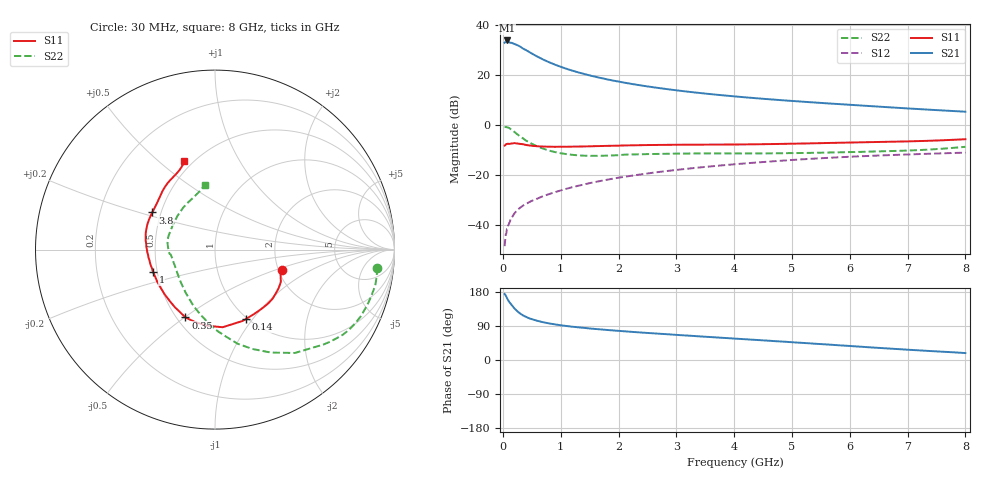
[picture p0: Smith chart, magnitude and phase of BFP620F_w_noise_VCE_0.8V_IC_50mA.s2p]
! Infineon Technologies  Discrete & RF Semiconductors
! BFP620F
! VCE =  0.8 V,  IC =  50 mA
! Common Emitter S-Parameters:  Dec 2014
# GHz  S  MA  R  50
!  f  S11  S21  S12  S22
! GHz  MAG  ANG  MAG  ANG  MAG  ANG  MAG  ANG
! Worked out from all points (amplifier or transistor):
!   95 points, 30 MHz to 8 GHz, reference 50 ohm
!   highest |S21| = 34.0 dB at 70 MHz (marker M1)
!   |S21| within 3 dB of that: start of sweep to 332.3 MHz
!   unconditionally stable (mu >= 1): 1.783 GHz to end of sweep
!   at 300 MHz: K = 0.49, MSG = 32.3 dB, |S12| = -33.2 dB
!   at 3.3 GHz: K = 1.03, MAG = 14.1 dB, |S12| = -17.3 dB
!   at 8 GHz: K = 1.06, MAG = 6.8 dB, |S12| = -11.1 dB
!   lowest NFmin = 1.55 dB at 450 MHz
!   S11 on the Smith chart (normalised r, x): 30 MHz: 2.08, -0.55; 140 MHz: 0.98, -0.93; 350 MHz: 0.55, -0.50; 1 GHz: 0.47, -0.14; 3.8 GHz: 0.45, +0.22; 8 GHz: 0.45, +0.61
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0.03  0.388 -16.9  44.89 174.2  0.0037 88.7  0.9102 -6.4
0.05  0.4084 -26.0  48.3 170.0  0.0064 82.0  0.9151 -12.6
0.07  0.4179 -36.1  50.03 163.7  0.0082 76.1  0.905 -18.8
0.09  0.4215 -45.4  48.65 158.0  0.0095 79.3  0.8926 -24.8
0.12  0.4198 -58.9  45.23 151.3  0.0114 77.0  0.8555 -33.7
0.14  0.4238 -66.1  44.82 147.6  0.0136 69.8  0.8189 -39.0
0.2  0.4347 -84.4  42.39 136.1  0.0169 67.1  0.7278 -52.3
0.25  0.4264 -96.2  40.29 128.7  0.0197 64.9  0.6528 -61.5
0.3  0.4186 -105.3  37.62 122.4  0.022 64.2  0.5908 -69.5
0.35  0.4122 -113.6  34.27 117.6  0.0242 63.0  0.5391 -76.5
0.45  0.3913 -124.7  29.64 110.4  0.0281 62.5  0.4547 -88.1
0.6  0.3753 -138.4  23.61 103.2  0.0335 62.3  0.3702 -102.8
0.8  0.3683 -150.9  18.27 96.6  0.0411 63.4  0.3074 -118.3
1  0.3673 -160.0  14.81 91.7  0.0487 64.0  0.272 -131.7
1.4  0.3727 -172.8  10.66 84.8  0.064 64.0  0.2432 -153.4
1.9  0.3839 176.1  7.861 78.1  0.0838 62.7  0.2458 -171.5
2.7  0.3994 163.3  5.54 69.4  0.1143 58.4  0.2635 175.3
3.8  0.4061 149.4  3.964 58.5  0.1557 51.4  0.2697 163.5
4.1  0.4084 146.1  3.686 55.6  0.1666 49.3  0.269 159.8
5.4  0.4316 134.1  2.837 42.9  0.2125 39.3  0.2778 141.1
6.7  0.4626 121.8  2.27 30.1  0.2495 28.5  0.3006 121.3
8  0.5201 109.1  1.856 18.3  0.2792 18.3  0.3661 98.4
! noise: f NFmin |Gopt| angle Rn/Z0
0.45  1.55  0.23  -171  0.17
0.9  1.58  0.23  -171  0.15
1.5  1.6  0.27  -155  0.1
1.8  1.61  0.27  -153  0.1
1.9  1.62  0.27  -151  0.1
2.4  1.63  0.27  214  0.11
3.5  1.71  0.28  221  0.13
5.5  1.82  0.32  252  0.22
6  1.84  0.32  261  0.28
